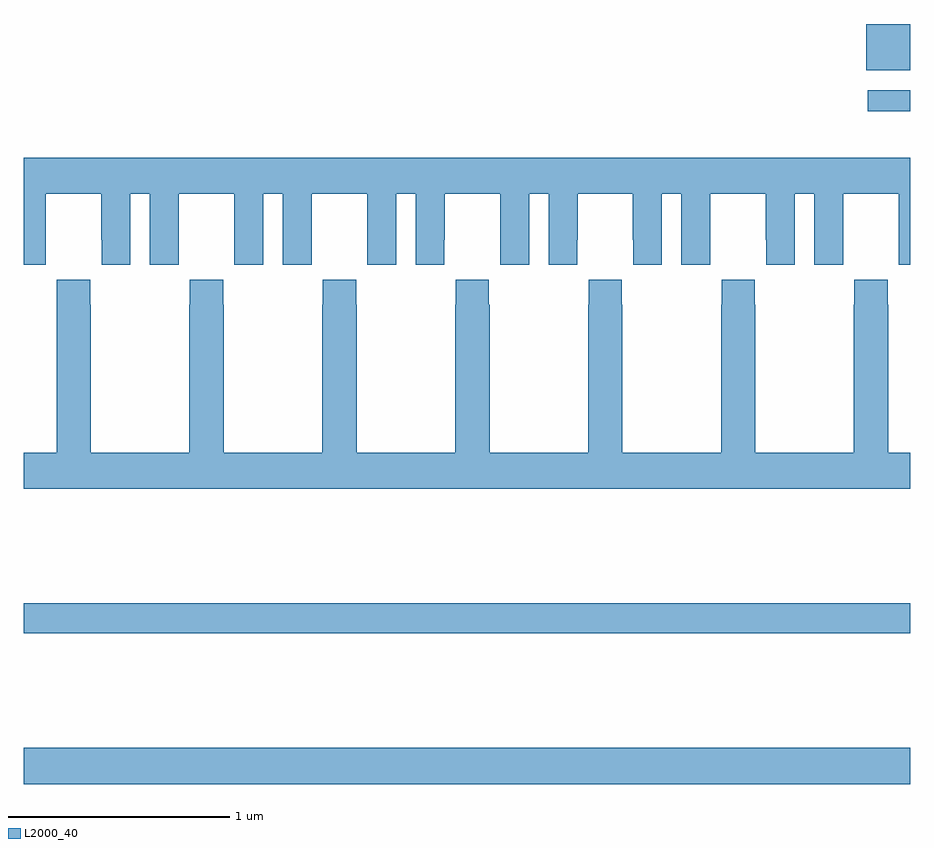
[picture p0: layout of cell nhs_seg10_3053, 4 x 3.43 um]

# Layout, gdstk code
import gdstk
lib = gdstk.Library(unit=1e-6, precision=1e-09)
def R(c, l, rs):  # rectangles x0, y0, x1, y1
    for r in rs: c.add(gdstk.rectangle(r[:2], r[2:], *l))
def P(c, l, *ps):  # polygons
    for p in ps: c.add(gdstk.Polygon(p, *l))
L2000_40 = (2000, 40)

nhs_seg10_3053 = lib.new_cell('nhs_seg10_3053')
R(nhs_seg10_3053, L2000_40, [(277,1267.016,281,1267.18), (277,1267.696,281,1267.832), (280.809,1270.053,281,1270.149), (280.802,1270.238,281,1270.447)])
P(nhs_seg10_3053, L2000_40, [(277.098,1269.472),(277.099,1269.472),(277.099,1269.68),(277.349,1269.68),(277.349,1269.472),(277.35,1269.472),(277.35,1269.36),(277.48,1269.36),(277.48,1269.68),(277.568,1269.68),(277.568,1269.36),(277.698,1269.36),(277.698,1269.472),(277.699,1269.472),(277.699,1269.68),(277.949,1269.68),(277.949,1269.472),(277.95,1269.472),(277.95,1269.36),(278.08,1269.36),(278.08,1269.68),(278.168,1269.68),(278.168,1269.36),(278.298,1269.36),(278.298,1269.472),(278.299,1269.472),(278.299,1269.68),(278.549,1269.68),(278.549,1269.472),(278.55,1269.472),(278.55,1269.36),(278.68,1269.36),(278.68,1269.68),(278.768,1269.68),(278.768,1269.36),(278.898,1269.36),(278.898,1269.472),(278.899,1269.472),(278.899,1269.68),(279.149,1269.68),(279.149,1269.472),(279.15,1269.472),(279.15,1269.36),(279.28,1269.36),(279.28,1269.68),(279.368,1269.68),(279.368,1269.36),(279.498,1269.36),(279.498,1269.472),(279.499,1269.472),(279.499,1269.68),(279.749,1269.68),(279.749,1269.472),(279.75,1269.472),(279.75,1269.36),(279.88,1269.36),(279.88,1269.68),(279.968,1269.68),(279.968,1269.36),(280.098,1269.36),(280.098,1269.472),(280.099,1269.472),(280.099,1269.68),(280.349,1269.68),(280.349,1269.472),(280.35,1269.472),(280.35,1269.36),(280.48,1269.36),(280.48,1269.68),(280.568,1269.68),(280.568,1269.36),(280.698,1269.36),(280.698,1269.472),(280.699,1269.472),(280.699,1269.68),(280.949,1269.68),(280.949,1269.472),(280.95,1269.472),(280.95,1269.36),(281,1269.36),(281,1269.844),(277,1269.844),(277,1269.36),(277.098,1269.36)],
  [(281,1268.512),(280.902,1268.512),(280.902,1269.179),(280.899,1269.179),(280.899,1269.292),(280.749,1269.292),(280.749,1269.179),(280.747,1269.179),(280.747,1268.512),(280.302,1268.512),(280.302,1269.179),(280.299,1269.179),(280.299,1269.292),(280.149,1269.292),(280.149,1269.179),(280.147,1269.179),(280.147,1268.512),(279.702,1268.512),(279.702,1269.179),(279.699,1269.179),(279.699,1269.292),(279.549,1269.292),(279.549,1269.179),(279.547,1269.179),(279.547,1268.512),(279.102,1268.512),(279.102,1269.179),(279.099,1269.179),(279.099,1269.292),(278.949,1269.292),(278.949,1269.179),(278.947,1269.179),(278.947,1268.512),(278.502,1268.512),(278.502,1269.179),(278.499,1269.179),(278.499,1269.292),(278.349,1269.292),(278.349,1269.179),(278.347,1269.179),(278.347,1268.512),(277.902,1268.512),(277.902,1269.179),(277.899,1269.179),(277.899,1269.292),(277.749,1269.292),(277.749,1269.179),(277.747,1269.179),(277.747,1268.512),(277.302,1268.512),(277.302,1269.179),(277.299,1269.179),(277.299,1269.292),(277.149,1269.292),(277.149,1269.179),(277.147,1269.179),(277.147,1268.512),(277,1268.512),(277,1268.348),(281,1268.348)])

lib.write_gds('nhs_seg10_3053.gds')
